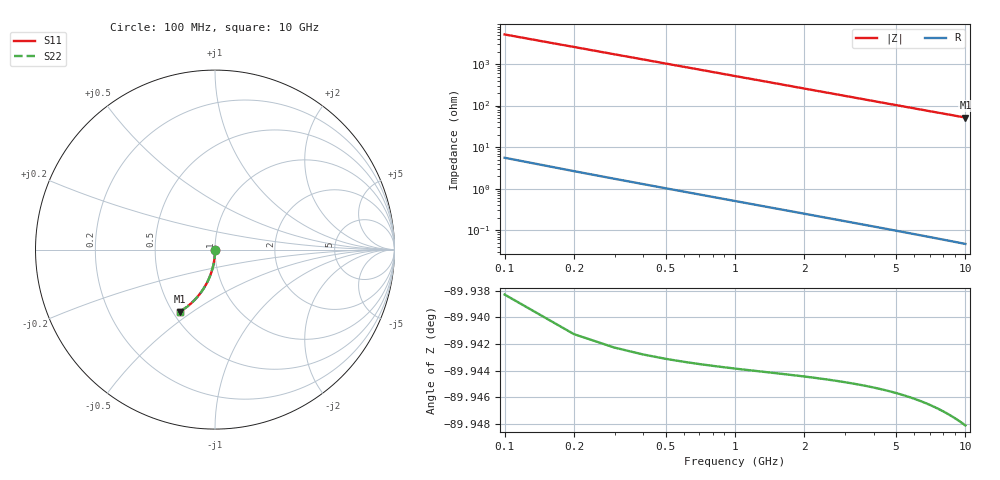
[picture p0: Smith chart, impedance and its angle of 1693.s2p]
# Hz S RI R 50.00
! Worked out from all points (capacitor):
!   100 points, 100 MHz to 10 GHz, reference 50 ohm
!   read as one part in shunt: C = 309 fF near 100 MHz
!   lowest |Z| = 51.6 ohm at 10 GHz (marker M1)
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1e8  0.000116 -0.00434  0.9998 -0.00538  0.9998 -0.00538  0.000116 -0.00434
2e8  4.22e-05 -0.00868  0.9997 -0.0108  0.9997 -0.0108  4.22e-05 -0.00868
3e8  -7.85e-05 -0.013  0.9996 -0.0161  0.9996 -0.0161  -7.85e-05 -0.013
4e8  -0.000246 -0.0174  0.9995 -0.0215  0.9995 -0.0215  -0.000246 -0.0174
5e8  -0.00046 -0.0217  0.9992 -0.0269  0.9992 -0.0269  -0.00046 -0.0217
6e8  -0.000721 -0.026  0.999 -0.0323  0.999 -0.0323  -0.000721 -0.026
7e8  -0.00103 -0.0304  0.9986 -0.0376  0.9986 -0.0376  -0.00103 -0.0304
8e8  -0.00138 -0.0347  0.9983 -0.043  0.9983 -0.043  -0.00138 -0.0347
9e8  -0.00178 -0.039  0.9979 -0.0484  0.9979 -0.0484  -0.00178 -0.039
1.1e9  -0.00272 -0.0476  0.9969 -0.0591  0.9969 -0.0591  -0.00272 -0.0476
1.4e9  -0.00448 -0.0605  0.9951 -0.0751  0.9951 -0.0751  -0.00448 -0.0605
1.8e9  -0.00747 -0.0776  0.9921 -0.0963  0.9921 -0.0963  -0.00747 -0.0776
2.1e9  -0.0102 -0.0903  0.9893 -0.1122  0.9893 -0.1122  -0.0102 -0.0903
2.5e9  -0.0144 -0.107  0.9849 -0.1331  0.9849 -0.1331  -0.0144 -0.107
2.9e9  -0.0194 -0.1236  0.9799 -0.1538  0.9799 -0.1538  -0.0194 -0.1236
3.4e9  -0.0265 -0.1438  0.9725 -0.1793  0.9725 -0.1793  -0.0265 -0.1438
4.2e9  -0.0401 -0.1752  0.9586 -0.2191  0.9586 -0.2191  -0.0401 -0.1752
5.1e9  -0.0582 -0.2086  0.94 -0.262  0.94 -0.262  -0.0582 -0.2086
5.9e9  -0.0767 -0.2364  0.9211 -0.2984  0.9211 -0.2984  -0.0767 -0.2364
6.7e9  -0.0971 -0.2622  0.9001 -0.3327  0.9001 -0.3327  -0.0971 -0.2622
8.4e9  -0.1456 -0.3099  0.8501 -0.3988  0.8501 -0.3988  -0.1456 -0.3099
1e10  -0.1957 -0.3454  0.7982 -0.4517  0.7982 -0.4517  -0.1957 -0.3454
